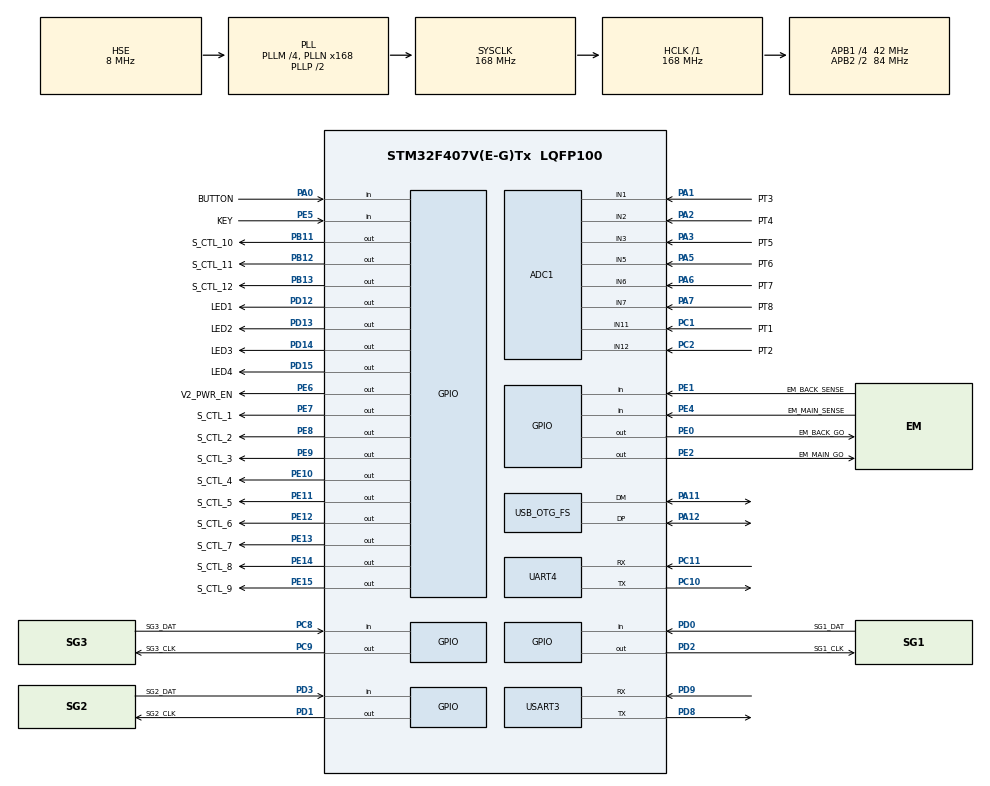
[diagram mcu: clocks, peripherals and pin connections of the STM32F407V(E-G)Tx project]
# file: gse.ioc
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ADC1.Channel-0\#ChannelRegularConversion=ADC_CHANNEL_VREFINT
ADC1.Channel-1\#ChannelRegularConversion=ADC_CHANNEL_11
ADC1.Channel-2\#ChannelRegularConversion=ADC_CHANNEL_12
ADC1.Channel-3\#ChannelRegularConversion=ADC_CHANNEL_1
ADC1.Channel-4\#ChannelRegularConversion=ADC_CHANNEL_2
ADC1.Channel-5\#ChannelRegularConversion=ADC_CHANNEL_3
ADC1.Channel-6\#ChannelRegularConversion=ADC_CHANNEL_5
ADC1.Channel-7\#ChannelRegularConversion=ADC_CHANNEL_6
ADC1.Channel-8\#ChannelRegularConversion=ADC_CHANNEL_7
ADC1.DMAContinuousRequests=ENABLE
ADC1.EOCSelection=ADC_EOC_SEQ_CONV
ADC1.NbrOfConversion=9
ADC1.NbrOfConversionFlag=1
ADC1.Rank-0\#ChannelRegularConversion=1
ADC1.Rank-1\#ChannelRegularConversion=2
ADC1.Rank-2\#ChannelRegularConversion=3
ADC1.Rank-3\#ChannelRegularConversion=4
ADC1.Rank-4\#ChannelRegularConversion=5
ADC1.Rank-5\#ChannelRegularConversion=6
ADC1.Rank-6\#ChannelRegularConversion=7
ADC1.Rank-7\#ChannelRegularConversion=8
ADC1.Rank-8\#ChannelRegularConversion=9
ADC1.SamplingTime-0\#ChannelRegularConversion=ADC_SAMPLETIME_480CYCLES
ADC1.SamplingTime-1\#ChannelRegularConversion=ADC_SAMPLETIME_480CYCLES
ADC1.SamplingTime-2\#ChannelRegularConversion=ADC_SAMPLETIME_480CYCLES
ADC1.SamplingTime-3\#ChannelRegularConversion=ADC_SAMPLETIME_480CYCLES
ADC1.SamplingTime-4\#ChannelRegularConversion=ADC_SAMPLETIME_480CYCLES
ADC1.SamplingTime-5\#ChannelRegularConversion=ADC_SAMPLETIME_480CYCLES
ADC1.SamplingTime-6\#ChannelRegularConversion=ADC_SAMPLETIME_480CYCLES
ADC1.SamplingTime-7\#ChannelRegularConversion=ADC_SAMPLETIME_480CYCLES
ADC1.SamplingTime-8\#ChannelRegularConversion=ADC_SAMPLETIME_480CYCLES
ADC1.ScanConvMode=ENABLE
ADC1.master=1
Dma.ADC1.0.Direction=DMA_PERIPH_TO_MEMORY
Dma.ADC1.0.FIFOMode=DMA_FIFOMODE_DISABLE
Dma.ADC1.0.Instance=DMA2_Stream0
Dma.ADC1.0.MemDataAlignment=DMA_MDATAALIGN_HALFWORD
Dma.ADC1.0.MemInc=DMA_MINC_ENABLE
Dma.ADC1.0.Mode=DMA_CIRCULAR
Dma.ADC1.0.PeriphDataAlignment=DMA_PDATAALIGN_HALFWORD
Dma.ADC1.0.PeriphInc=DMA_PINC_DISABLE
Dma.ADC1.0.Priority=DMA_PRIORITY_LOW
Dma.Request0=ADC1
FREERTOS.MEMORY_ALLOCATION=2
FREERTOS.Tasks01=defaultTask,0,512,StartDefaultTask,Default,NULL,Static,defaultTaskBuffer,defaultTaskControlBlock;messageHandler,0,1024,startMessageHandler,Default,NULL,Static,messageHandlerBuffer,messageHandlerControlBlock;sgRead,0,512,startSgRead,Default,NULL,Static,sgReadBuffer,sgReadControlBlock
Mcu.Family=STM32F4
Mcu.Name=STM32F407V(E-G)Tx
Mcu.Package=LQFP100
NVIC.ADC_IRQn=true\:5\:0\:false\:false\:true\:true\:true\:true
NVIC.DMA2_Stream0_IRQn=true\:5\:0\:false\:false\:true\:true\:false\:true
NVIC.OTG_FS_IRQn=true\:5\:0\:false\:false\:true\:true\:false\:true
NVIC.PriorityGroup=NVIC_PRIORITYGROUP_4
NVIC.TIM8_TRG_COM_TIM14_IRQn=true\:5\:0\:false\:false\:true\:true\:true\:true
NVIC.UART4_IRQn=true\:5\:0\:false\:false\:true\:true\:true\:true
NVIC.USART3_IRQn=true\:5\:0\:false\:false\:true\:true\:true\:true
PA0-WKUP.GPIO_Label=BUTTON
PA0-WKUP.GPIO_Mode=GPIO_MODE_INPUT
PA0-WKUP.GPIO_PuPd=GPIO_NOPULL
PA0-WKUP.Signal=GPIO_Input
PA1.GPIO_Label=PT3
PA1.Signal=ADCx_IN1
PA11.Mode=Device_Only
PA11.Signal=USB_OTG_FS_DM
PA12.Mode=Device_Only
PA12.Signal=USB_OTG_FS_DP
PA13.Mode=Trace_Asynchronous_SW
PA13.Signal=SYS_JTMS-SWDIO
PA14.Mode=Trace_Asynchronous_SW
PA14.Signal=SYS_JTCK-SWCLK
PA2.GPIO_Label=PT4
PA2.Signal=ADCx_IN2
PA3.GPIO_Label=PT5
PA3.Signal=ADCx_IN3
PA5.GPIO_Label=PT6
PA5.Signal=ADCx_IN5
PA6.GPIO_Label=PT7
PA6.Signal=ADCx_IN6
PA7.GPIO_Label=PT8
PA7.Signal=ADCx_IN7
PB11.GPIO_Label=S_CTL_10
PB11.Signal=GPIO_Output
PB12.GPIO_Label=S_CTL_11
PB12.Signal=GPIO_Output
PB13.GPIO_Label=S_CTL_12
PB13.Signal=GPIO_Output
PB3.Mode=Trace_Asynchronous_SW
PB3.Signal=SYS_JTDO-SWO
PC1.GPIO_Label=PT1
PC1.Signal=ADCx_IN11
PC10.Mode=Asynchronous
PC10.Signal=UART4_TX
PC11.Mode=Asynchronous
PC11.Signal=UART4_RX
PC2.GPIO_Label=PT2
PC2.Signal=ADCx_IN12
PC8.GPIO_Label=SG3_DAT
PC8.Signal=GPIO_Input
PC9.GPIO_Label=SG3_CLK
PC9.Signal=GPIO_Output
PD0.GPIO_Label=SG1_DAT
PD0.Signal=GPIO_Input
PD1.GPIO_Label=SG2_CLK
PD1.Signal=GPIO_Output
PD12.GPIO_Label=LED1
PD12.Signal=GPIO_Output
PD13.GPIO_Label=LED2
PD13.Signal=GPIO_Output
PD14.GPIO_Label=LED3
PD14.Signal=GPIO_Output
PD15.GPIO_Label=LED4
PD15.Signal=GPIO_Output
PD2.GPIO_Label=SG1_CLK
PD2.Signal=GPIO_Output
PD3.GPIO_Label=SG2_DAT
PD3.Signal=GPIO_Input
PD8.Mode=Asynchronous
PD8.Signal=USART3_TX
PD9.Mode=Asynchronous
PD9.Signal=USART3_RX
PE0.GPIO_Label=EM_BACK_GO
PE0.Signal=GPIO_Output
PE1.GPIO_Label=EM_BACK_SENSE
PE1.Signal=GPIO_Input
PE10.GPIO_Label=S_CTL_4
PE10.Signal=GPIO_Output
PE11.GPIO_Label=S_CTL_5
PE11.Signal=GPIO_Output
PE12.GPIO_Label=S_CTL_6
PE12.Signal=GPIO_Output
PE13.GPIO_Label=S_CTL_7
PE13.Signal=GPIO_Output
PE14.GPIO_Label=S_CTL_8
PE14.Signal=GPIO_Output
PE15.GPIO_Label=S_CTL_9
PE15.Signal=GPIO_Output
PE2.GPIO_Label=EM_MAIN_GO
PE2.Signal=GPIO_Output
PE4.GPIO_Label=EM_MAIN_SENSE
PE4.Signal=GPIO_Input
PE5.GPIO_Label=KEY
PE5.Signal=GPIO_Input
PE6.GPIO_Label=V2_PWR_EN
PE6.Signal=GPIO_Output
PE7.GPIO_Label=S_CTL_1
PE7.Signal=GPIO_Output
PE8.GPIO_Label=S_CTL_2
PE8.Signal=GPIO_Output
PE9.GPIO_Label=S_CTL_3
PE9.Signal=GPIO_Output
PH0-OSC_IN.Mode=HSE-External-Oscillator
PH0-OSC_IN.Signal=RCC_OSC_IN
PH1-OSC_OUT.Mode=HSE-External-Oscillator
PH1-OSC_OUT.Signal=RCC_OSC_OUT
ProjectManager.HeapSize=0x200
ProjectManager.StackSize=0x400
ProjectManager.TargetToolchain=TrueSTUDIO
RCC.48MHZClocksFreq_Value=48000000
RCC.AHBFreq_Value=168000000
RCC.APB1CLKDivider=RCC_HCLK_DIV4
RCC.APB1Freq_Value=42000000
RCC.APB1TimFreq_Value=84000000
RCC.APB2CLKDivider=RCC_HCLK_DIV2
RCC.APB2Freq_Value=84000000
RCC.APB2TimFreq_Value=168000000
RCC.CortexFreq_Value=168000000
RCC.HCLKFreq_Value=168000000
RCC.HSE_VALUE=8000000
RCC.HSI_VALUE=16000000
RCC.LSE_VALUE=32768
RCC.PLLM=4
RCC.PLLN=168
RCC.PLLQ=7
RCC.SYSCLKFreq_VALUE=168000000
RCC.SYSCLKSource=RCC_SYSCLKSOURCE_PLLCLK
RCC.VCOOutputFreq_Value=336000000
SH.ADCx_IN1.0=ADC1_IN1,IN1
SH.ADCx_IN11.0=ADC1_IN11,IN11
SH.ADCx_IN12.0=ADC1_IN12,IN12
SH.ADCx_IN2.0=ADC1_IN2,IN2
SH.ADCx_IN3.0=ADC1_IN3,IN3
SH.ADCx_IN5.0=ADC1_IN5,IN5
SH.ADCx_IN6.0=ADC1_IN6,IN6
SH.ADCx_IN7.0=ADC1_IN7,IN7
TIM14.Period=1000
TIM14.Prescaler=83
UART4.VirtualMode=Asynchronous
USART3.VirtualMode=VM_ASYNC
USB_DEVICE.CLASS_NAME_FS=CDC
USB_DEVICE.VirtualMode-CDC_FS=Cdc
USB_DEVICE.VirtualModeFS=Cdc_FS
USB_OTG_FS.VirtualMode=Device_Only
VP_ADC1_Vref_Input.Mode=IN-Vrefint
VP_FREERTOS_VS_CMSIS_V1.Mode=CMSIS_V1
VP_TIM14_VS_ClockSourceINT.Mode=Enable_Timer
VP_USB_DEVICE_VS_USB_DEVICE_CDC_FS.Mode=CDC_FS
board=custom

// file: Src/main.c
/* USER CODE BEGIN Header */
/**
  ******************************************************************************
  * @file           : main.c
  * @brief          : Main program body
  ******************************************************************************
  * @attention
  *
  * <h2><center>&copy; Copyright (c) 2021 STMicroelectronics.
  * All rights reserved.</center></h2>
  *
  * This software component is licensed by ST under Ultimate Liberty license
  * SLA0044, the "License"; You may not use this file except in compliance with
  * the License. You may obtain a copy of the License at:
  *                             www.st.com/SLA0044
  *
  ******************************************************************************
  */
/* USER CODE END Header */

#include "main.h"
#include "cmsis_os.h"
#include "usb_device.h"

/* USER CODE BEGIN Includes */

#include <stdio.h>
#include <stdarg.h>
#include <string.h>

#include "cobs.h"
#include "message.h"

/* USER CODE END Includes */

/* USER CODE BEGIN PD */

#define MSG_RX_UART3 0x00
#define MSG_TX_UART3 MSG_TX_MASK(MSG_RX_UART3)

#define MSG_RX_UART4 0x01
#define MSG_TX_UART4 MSG_TX_MASK(MSG_RX_UART4)

#define MSG_RX_USB 0x02
#define MSG_TX_USB MSG_TX_MASK(MSG_RX_USB)

/* USER CODE END PD */

ADC_HandleTypeDef hadc1;
DMA_HandleTypeDef hdma_adc1;

TIM_HandleTypeDef htim14;

UART_HandleTypeDef huart4;
UART_HandleTypeDef huart3;

osThreadId defaultTaskHandle;
uint32_t defaultTaskBuffer[ 512 ];
osStaticThreadDef_t defaultTaskControlBlock;
osThreadId messageHandlerHandle;
uint32_t messageHandlerBuffer[ 1024 ];
osStaticThreadDef_t messageHandlerControlBlock;
osThreadId sgReadHandle;
uint32_t sgReadBuffer[ 512 ];
osStaticThreadDef_t sgReadControlBlock;
/* USER CODE BEGIN PV */

uint8_t usart3_rx_hw_buffer[1];
uint8_t usart3_rx_buffer[128];
StaticQueue_t usart3_rx_queue;
QueueHandle_t usart3_rx_queue_handle;
uint8_t usart3_active;
uint8_t usart3_tx_hw_buffer[1];
uint8_t usart3_tx_buffer[128];
StaticQueue_t usart3_tx_queue;
QueueHandle_t usart3_tx_queue_handle;

uint8_t usart4_rx_hw_buffer[1];
uint8_t usart4_rx_buffer[128];
StaticQueue_t usart4_rx_queue;
QueueHandle_t usart4_rx_queue_handle;
uint8_t usart4_active;
uint8_t usart4_tx_hw_buffer[1];
uint8_t usart4_tx_buffer[128];
StaticQueue_t usart4_tx_queue;
QueueHandle_t usart4_tx_queue_handle;

uint8_t usb_cdc_rx_buffer[128];
StaticQueue_t usb_cdc_rx_queue;
QueueHandle_t usb_cdc_rx_queue_handle;

uint8_t usb_cdc_tx_buffer[128];
int usb_cdc_tx_buffer_ptr = 0;

uint8_t usart3_pkt_buffer[128];
size_t usart3_pkt_buffer_ptr = 0;

uint8_t usart4_pkt_buffer[128];
size_t usart4_pkt_buffer_ptr = 0;

uint8_t usb_cdc_pkt_buffer[128];
size_t usb_cdc_pkt_buffer_ptr = 0;

// message queues
#define RX_MSG_QUEUE_LEN 8
uint8_t rx_msg_buffer[RX_MSG_QUEUE_LEN*(sizeof(struct message))];
StaticQueue_t rx_msg_queue;
QueueHandle_t rx_msg_queue_handle;

#define TX_MSG_QUEUE_LEN 8
uint8_t tx_msg_buffer[TX_MSG_QUEUE_LEN*(sizeof(struct message))];
StaticQueue_t tx_msg_queue;
QueueHandle_t tx_msg_queue_handle;

uint16_t adc1_dma_buffer[9];

uint16_t solenoid_state = 0x8000;

uint8_t arm_state = 0;
uint8_t fire_cmd = 0;

uint8_t dev_id = 0x40;

uint8_t tx_seq = 0x00;

/* USER CODE END PV */

void SystemClock_Config(void);
static void MX_GPIO_Init(void);
static void MX_DMA_Init(void);
static void MX_UART4_Init(void);
static void MX_ADC1_Init(void);
static void MX_USART3_UART_Init(void);
static void MX_TIM14_Init(void);
void StartDefaultTask(void const * argument);
void startMessageHandler(void const * argument);
void startSgRead(void const * argument);

/* USER CODE BEGIN 0 */

// printf() via SWO
void swo_printf(const char *fmt, ...)
{
  char buf[128];
  va_list argp;
  va_start(argp, fmt);
  if (0 < vsnprintf(buf, sizeof(buf), fmt, argp))
  {
    for (char *ptr = buf; *ptr; ptr++)
    {
      ITM_SendChar(*ptr);
    }
  }
  va_end(argp);
}

// Event handlers

//void tick_handler(void)
//{
//  // HAL_GetTick();
//}

//void HAL_I2C_MasterTxCpltCallback(I2C_HandleTypeDef *hi2c);
//void HAL_I2C_MasterRxCpltCallback(I2C_HandleTypeDef *hi2c);
//void HAL_I2C_SlaveTxCpltCallback(I2C_HandleTypeDef *hi2c);
//void HAL_I2C_SlaveRxCpltCallback(I2C_HandleTypeDef *hi2c);
//void HAL_I2C_AddrCallback(I2C_HandleTypeDef *hi2c, uint8_t TransferDirection, uint16_t AddrMatchCode);
//void HAL_I2C_ListenCpltCallback(I2C_HandleTypeDef *hi2c);
//void HAL_I2C_MemTxCpltCallback(I2C_HandleTypeDef *hi2c);
//void HAL_I2C_MemRxCpltCallback(I2C_HandleTypeDef *hi2c);
//void HAL_I2C_ErrorCallback(I2C_HandleTypeDef *hi2c);
//void HAL_I2C_AbortCpltCallback(I2C_HandleTypeDef *hi2c);

//void HAL_UART_TxCpltCallback(UART_HandleTypeDef *huart);
//void HAL_UART_TxHalfCpltCallback(UART_HandleTypeDef *huart);
//void HAL_UART_RxCpltCallback(UART_HandleTypeDef *huart);
//void HAL_UART_RxHalfCpltCallback(UART_HandleTypeDef *huart);
//void HAL_UART_ErrorCallback(UART_HandleTypeDef *huart);
//void HAL_UART_AbortCpltCallback (UART_HandleTypeDef *huart);
//void HAL_UART_AbortTransmitCpltCallback (UART_HandleTypeDef *huart);
//void HAL_UART_AbortReceiveCpltCallback (UART_HandleTypeDef *huart);

void HAL_UART_TxCpltCallback(UART_HandleTypeDef *huart)
{
  if (huart == &huart3)
  {
    // TX complete for UART3
    if (uxQueueMessagesWaitingFromISR(usart3_tx_queue_handle))
    {
      usart3_active = 1;
      xQueueReceiveFromISR(usart3_tx_queue_handle, usart3_tx_hw_buffer, NULL);
      HAL_UART_Transmit_IT(&huart3, usart3_tx_hw_buffer, 1);
    }
    else
    {
      usart3_active = 0;
    }
  }
  else if (huart == &huart4)
//  if (huart == &huart4)
  {
    // TX complete for UART4
    if (uxQueueMessagesWaitingFromISR(usart4_tx_queue_handle))
    {
      usart4_active = 1;
      xQueueReceiveFromISR(usart4_tx_queue_handle, usart4_tx_hw_buffer, NULL);
      HAL_UART_Transmit_IT(&huart4, usart4_tx_hw_buffer, 1);
    }
    else
    {
      usart4_active = 0;
    }
  }
}

void HAL_UART_RxCpltCallback(UART_HandleTypeDef *huart)
{
  if (huart == &huart3)
  {
    // RX complete for USART3
    xQueueSendFromISR(usart3_rx_queue_handle, usart3_rx_hw_buffer, NULL);
    HAL_UART_Receive_IT(&huart3, usart3_rx_hw_buffer, 1);
  }
  else if (huart == &huart4)
  //if (huart == &huart4)
  {
    // RX complete for UART4
    xQueueSendFromISR(usart4_rx_queue_handle, usart4_rx_hw_buffer, NULL);
    HAL_UART_Receive_IT(&huart4, usart4_rx_hw_buffer, 1);
  }
}

//void HAL_ADC_ConvCpltCallback(ADC_HandleTypeDef* hadc);
//void HAL_ADC_ConvHalfCpltCallback(ADC_HandleTypeDef* hadc);
//void HAL_ADC_LevelOutOfWindowCallback(ADC_HandleTypeDef* hadc);
//void HAL_ADC_ErrorCallback(ADC_HandleTypeDef *hadc);

uint32_t adc_ref_acc;
uint32_t adc1_acc[8];

void HAL_ADC_ConvCpltCallback(ADC_HandleTypeDef* hadc)
{
  if (hadc == &hadc1)
  {
    // exponential moving average

    // ref channel init
    if (adc_ref_acc == 0)
      adc_ref_acc = adc1_dma_buffer[0] << 16;

    adc_ref_acc = adc_ref_acc * 0.999 + (adc1_dma_buffer[0] << 16) * 0.001;

    for (int i = 0; i < 8; i++)
    {
      adc1_acc[i] = adc1_acc[i] * 0.95 + (adc1_dma_buffer[i+1] << 16) * 0.05;
    }
  }
}

//void HAL_TIM_PeriodElapsedCallback(TIM_HandleTypeDef *htim);
//void HAL_TIM_PeriodElapsedHalfCpltCallback(TIM_HandleTypeDef *htim);
//void HAL_TIM_OC_DelayElapsedCallback(TIM_HandleTypeDef *htim);
//void HAL_TIM_IC_CaptureCallback(TIM_HandleTypeDef *htim);
//void HAL_TIM_IC_CaptureHalfCpltCallback(TIM_HandleTypeDef *htim);
//void HAL_TIM_PWM_PulseFinishedCallback(TIM_HandleTypeDef *htim);
//void HAL_TIM_PWM_PulseFinishedHalfCpltCallback(TIM_HandleTypeDef *htim);
//void HAL_TIM_TriggerCallback(TIM_HandleTypeDef *htim);
//void HAL_TIM_TriggerHalfCpltCallback(TIM_HandleTypeDef *htim);
//void HAL_TIM_ErrorCallback(TIM_HandleTypeDef *htim);

void HAL_TIM_PeriodElapsedCallback(TIM_HandleTypeDef *htim)
{
  if (htim == &htim14)
  {
    // 1 ms timer tick

    // sample ADC
    HAL_ADC_Start_DMA(&hadc1, (uint32_t *)adc1_dma_buffer, 9);
  }
}

void usb_cdc_rx_callback(uint8_t *buf, uint32_t len)
{
  for (int i = 0; i < len; i++)
  {
    xQueueSendFromISR(usb_cdc_rx_queue_handle, &buf[i], NULL);
  }
}

/* USER CODE END 0 */

int main(void)
{

  /* MCU Configuration--------------------------------------------------------*/

  /* Reset of all peripherals, Initializes the Flash interface and the Systick. */
  HAL_Init();

  /* Configure the system clock */
  SystemClock_Config();

  /* USER CODE BEGIN SysInit */

  HAL_Delay(100);

  /* USER CODE END SysInit */

  /* Initialize all configured peripherals */
  MX_GPIO_Init();
  MX_DMA_Init();
  MX_UART4_Init();
  MX_ADC1_Init();
  MX_USART3_UART_Init();
  MX_TIM14_Init();
  /* USER CODE BEGIN 2 */

  usart3_rx_queue_handle = xQueueCreateStatic(sizeof(usart3_rx_buffer), 1, usart3_rx_buffer, &usart3_rx_queue);
  usart3_tx_queue_handle = xQueueCreateStatic(sizeof(usart3_tx_buffer), 1, usart3_tx_buffer, &usart3_tx_queue);

  HAL_UART_Receive_IT(&huart3, usart3_rx_hw_buffer, 1);

  usart4_rx_queue_handle = xQueueCreateStatic(sizeof(usart4_rx_buffer), 1, usart4_rx_buffer, &usart4_rx_queue);
  usart4_tx_queue_handle = xQueueCreateStatic(sizeof(usart4_tx_buffer), 1, usart4_tx_buffer, &usart4_tx_queue);

  HAL_UART_Receive_IT(&huart4, usart4_rx_hw_buffer, 1);

  usb_cdc_rx_queue_handle = xQueueCreateStatic(sizeof(usb_cdc_rx_buffer), 1, usb_cdc_rx_buffer, &usb_cdc_rx_queue);

  rx_msg_queue_handle = xQueueCreateStatic(RX_MSG_QUEUE_LEN, sizeof(struct message), rx_msg_buffer, &rx_msg_queue);
  tx_msg_queue_handle = xQueueCreateStatic(TX_MSG_QUEUE_LEN, sizeof(struct message), tx_msg_buffer, &tx_msg_queue);

  HAL_TIM_Base_Start_IT(&htim14);

  /* USER CODE END 2 */

  /* Create the thread(s) */
  /* definition and creation of defaultTask */
  osThreadStaticDef(defaultTask, StartDefaultTask, osPriorityNormal, 0, 512, defaultTaskBuffer, &defaultTaskControlBlock);
  defaultTaskHandle = osThreadCreate(osThread(defaultTask), NULL);

  /* definition and creation of messageHandler */
  osThreadStaticDef(messageHandler, startMessageHandler, osPriorityNormal, 0, 1024, messageHandlerBuffer, &messageHandlerControlBlock);
  messageHandlerHandle = osThreadCreate(osThread(messageHandler), NULL);

  /* definition and creation of sgRead */
  osThreadStaticDef(sgRead, startSgRead, osPriorityNormal, 0, 512, sgReadBuffer, &sgReadControlBlock);
  sgReadHandle = osThreadCreate(osThread(sgRead), NULL);

  /* Start scheduler */
  osKernelStart();

  /* We should never get here as control is now taken by the scheduler */
  /* Infinite loop */
  while (1)
  {

  }
}

void SystemClock_Config(void)
{
  RCC_OscInitTypeDef RCC_OscInitStruct = {0};
  RCC_ClkInitTypeDef RCC_ClkInitStruct = {0};

  /** Configure the main internal regulator output voltage
  */
  __HAL_RCC_PWR_CLK_ENABLE();
  __HAL_PWR_VOLTAGESCALING_CONFIG(PWR_REGULATOR_VOLTAGE_SCALE1);
  /** Initializes the RCC Oscillators according to the specified parameters
  * in the RCC_OscInitTypeDef structure.
  */
  RCC_OscInitStruct.OscillatorType = RCC_OSCILLATORTYPE_HSE;
  RCC_OscInitStruct.HSEState = RCC_HSE_ON;
  RCC_OscInitStruct.PLL.PLLState = RCC_PLL_ON;
  RCC_OscInitStruct.PLL.PLLSource = RCC_PLLSOURCE_HSE;
  RCC_OscInitStruct.PLL.PLLM = 4;
  RCC_OscInitStruct.PLL.PLLN = 168;
  RCC_OscInitStruct.PLL.PLLP = RCC_PLLP_DIV2;
  RCC_OscInitStruct.PLL.PLLQ = 7;
  if (HAL_RCC_OscConfig(&RCC_OscInitStruct) != HAL_OK)
  {
    Error_Handler();
  }
  /** Initializes the CPU, AHB and APB buses clocks
  */
  RCC_ClkInitStruct.ClockType = RCC_CLOCKTYPE_HCLK|RCC_CLOCKTYPE_SYSCLK
                              |RCC_CLOCKTYPE_PCLK1|RCC_CLOCKTYPE_PCLK2;
  RCC_ClkInitStruct.SYSCLKSource = RCC_SYSCLKSOURCE_PLLCLK;
  RCC_ClkInitStruct.AHBCLKDivider = RCC_SYSCLK_DIV1;
  RCC_ClkInitStruct.APB1CLKDivider = RCC_HCLK_DIV4;
  RCC_ClkInitStruct.APB2CLKDivider = RCC_HCLK_DIV2;

  if (HAL_RCC_ClockConfig(&RCC_ClkInitStruct, FLASH_LATENCY_5) != HAL_OK)
  {
    Error_Handler();
  }
}

static void MX_ADC1_Init(void)
{

  ADC_ChannelConfTypeDef sConfig = {0};

  /** Configure the global features of the ADC (Clock, Resolution, Data Alignment and number of conversion)
  */
  hadc1.Instance = ADC1;
  hadc1.Init.ClockPrescaler = ADC_CLOCK_SYNC_PCLK_DIV4;
  hadc1.Init.Resolution = ADC_RESOLUTION_12B;
  hadc1.Init.ScanConvMode = ENABLE;
  hadc1.Init.ContinuousConvMode = DISABLE;
  hadc1.Init.DiscontinuousConvMode = DISABLE;
  hadc1.Init.ExternalTrigConvEdge = ADC_EXTERNALTRIGCONVEDGE_NONE;
  hadc1.Init.ExternalTrigConv = ADC_SOFTWARE_START;
  hadc1.Init.DataAlign = ADC_DATAALIGN_RIGHT;
  hadc1.Init.NbrOfConversion = 9;
  hadc1.Init.DMAContinuousRequests = ENABLE;
  hadc1.Init.EOCSelection = ADC_EOC_SEQ_CONV;
  if (HAL_ADC_Init(&hadc1) != HAL_OK)
  {
    Error_Handler();
  }
  /** Configure for the selected ADC regular channel its corresponding rank in the sequencer and its sample time.
  */
  sConfig.Channel = ADC_CHANNEL_VREFINT;
  sConfig.Rank = 1;
  sConfig.SamplingTime = ADC_SAMPLETIME_480CYCLES;
  if (HAL_ADC_ConfigChannel(&hadc1, &sConfig) != HAL_OK)
  {
    Error_Handler();
  }
  /** Configure for the selected ADC regular channel its corresponding rank in the sequencer and its sample time.
  */
  sConfig.Channel = ADC_CHANNEL_11;
  sConfig.Rank = 2;
  if (HAL_ADC_ConfigChannel(&hadc1, &sConfig) != HAL_OK)
  {
    Error_Handler();
  }
  /** Configure for the selected ADC regular channel its corresponding rank in the sequencer and its sample time.
  */
  sConfig.Channel = ADC_CHANNEL_12;
  sConfig.Rank = 3;
  if (HAL_ADC_ConfigChannel(&hadc1, &sConfig) != HAL_OK)
  {
    Error_Handler();
  }
  /** Configure for the selected ADC regular channel its corresponding rank in the sequencer and its sample time.
  */
  sConfig.Channel = ADC_CHANNEL_1;
  sConfig.Rank = 4;
  if (HAL_ADC_ConfigChannel(&hadc1, &sConfig) != HAL_OK)
  {
    Error_Handler();
  }
  /** Configure for the selected ADC regular channel its corresponding rank in the sequencer and its sample time.
  */
  sConfig.Channel = ADC_CHANNEL_2;
  sConfig.Rank = 5;
  if (HAL_ADC_ConfigChannel(&hadc1, &sConfig) != HAL_OK)
  {
    Error_Handler();
  }
  /** Configure for the selected ADC regular channel its corresponding rank in the sequencer and its sample time.
  */
  sConfig.Channel = ADC_CHANNEL_3;
  sConfig.Rank = 6;
  if (HAL_ADC_ConfigChannel(&hadc1, &sConfig) != HAL_OK)
  {
    Error_Handler();
  }
  /** Configure for the selected ADC regular channel its corresponding rank in the sequencer and its sample time.
  */
  sConfig.Channel = ADC_CHANNEL_5;
  sConfig.Rank = 7;
  if (HAL_ADC_ConfigChannel(&hadc1, &sConfig) != HAL_OK)
  {
    Error_Handler();
  }
  /** Configure for the selected ADC regular channel its corresponding rank in the sequencer and its sample time.
  */
  sConfig.Channel = ADC_CHANNEL_6;
  sConfig.Rank = 8;
  if (HAL_ADC_ConfigChannel(&hadc1, &sConfig) != HAL_OK)
  {
    Error_Handler();
  }
  /** Configure for the selected ADC regular channel its corresponding rank in the sequencer and its sample time.
  */
  sConfig.Channel = ADC_CHANNEL_7;
  sConfig.Rank = 9;
  if (HAL_ADC_ConfigChannel(&hadc1, &sConfig) != HAL_OK)
  {
    Error_Handler();
  }

}

static void MX_TIM14_Init(void)
{

  htim14.Instance = TIM14;
  htim14.Init.Prescaler = 83;
  htim14.Init.CounterMode = TIM_COUNTERMODE_UP;
  htim14.Init.Period = 1000;
  htim14.Init.ClockDivision = TIM_CLOCKDIVISION_DIV1;
  htim14.Init.AutoReloadPreload = TIM_AUTORELOAD_PRELOAD_DISABLE;
  if (HAL_TIM_Base_Init(&htim14) != HAL_OK)
  {
    Error_Handler();
  }

}

static void MX_UART4_Init(void)
{

  huart4.Instance = UART4;
  huart4.Init.BaudRate = 115200;
  huart4.Init.WordLength = UART_WORDLENGTH_8B;
  huart4.Init.StopBits = UART_STOPBITS_1;
  huart4.Init.Parity = UART_PARITY_NONE;
  huart4.Init.Mode = UART_MODE_TX_RX;
  huart4.Init.HwFlowCtl = UART_HWCONTROL_NONE;
  huart4.Init.OverSampling = UART_OVERSAMPLING_16;
  if (HAL_UART_Init(&huart4) != HAL_OK)
  {
    Error_Handler();
  }

}

static void MX_USART3_UART_Init(void)
{

  huart3.Instance = USART3;
  huart3.Init.BaudRate = 115200;
  huart3.Init.WordLength = UART_WORDLENGTH_8B;
  huart3.Init.StopBits = UART_STOPBITS_1;
  huart3.Init.Parity = UART_PARITY_NONE;
  huart3.Init.Mode = UART_MODE_TX_RX;
  huart3.Init.HwFlowCtl = UART_HWCONTROL_NONE;
  huart3.Init.OverSampling = UART_OVERSAMPLING_16;
  if (HAL_UART_Init(&huart3) != HAL_OK)
  {
    Error_Handler();
  }

}

static void MX_DMA_Init(void)
{

  /* DMA controller clock enable */
  __HAL_RCC_DMA2_CLK_ENABLE();

  /* DMA interrupt init */
  /* DMA2_Stream0_IRQn interrupt configuration */
  HAL_NVIC_SetPriority(DMA2_Stream0_IRQn, 5, 0);
  HAL_NVIC_EnableIRQ(DMA2_Stream0_IRQn);

}

static void MX_GPIO_Init(void)
{
  GPIO_InitTypeDef GPIO_InitStruct = {0};

  /* GPIO Ports Clock Enable */
  __HAL_RCC_GPIOE_CLK_ENABLE();
  __HAL_RCC_GPIOH_CLK_ENABLE();
  __HAL_RCC_GPIOC_CLK_ENABLE();
  __HAL_RCC_GPIOA_CLK_ENABLE();
  __HAL_RCC_GPIOB_CLK_ENABLE();
  __HAL_RCC_GPIOD_CLK_ENABLE();

  /*Configure GPIO pin Output Level */
  HAL_GPIO_WritePin(GPIOE, EM_MAIN_GO_Pin|V2_PWR_EN_Pin|S_CTL_1_Pin|S_CTL_2_Pin
                          |S_CTL_3_Pin|S_CTL_4_Pin|S_CTL_5_Pin|S_CTL_6_Pin
                          |S_CTL_7_Pin|S_CTL_8_Pin|S_CTL_9_Pin|EM_BACK_GO_Pin, GPIO_PIN_RESET);

  /*Configure GPIO pin Output Level */
  HAL_GPIO_WritePin(GPIOB, S_CTL_10_Pin|S_CTL_11_Pin|S_CTL_12_Pin, GPIO_PIN_RESET);

  /*Configure GPIO pin Output Level */
  HAL_GPIO_WritePin(GPIOD, LED1_Pin|LED2_Pin|LED3_Pin|LED4_Pin
                          |SG2_CLK_Pin|SG1_CLK_Pin, GPIO_PIN_RESET);

  /*Configure GPIO pin Output Level */
  HAL_GPIO_WritePin(SG3_CLK_GPIO_Port, SG3_CLK_Pin, GPIO_PIN_RESET);

  /*Configure GPIO pins : EM_MAIN_GO_Pin V2_PWR_EN_Pin S_CTL_1_Pin S_CTL_2_Pin
                           S_CTL_3_Pin S_CTL_4_Pin S_CTL_5_Pin S_CTL_6_Pin
                           S_CTL_7_Pin S_CTL_8_Pin S_CTL_9_Pin EM_BACK_GO_Pin */
  GPIO_InitStruct.Pin = EM_MAIN_GO_Pin|V2_PWR_EN_Pin|S_CTL_1_Pin|S_CTL_2_Pin
                          |S_CTL_3_Pin|S_CTL_4_Pin|S_CTL_5_Pin|S_CTL_6_Pin
                          |S_CTL_7_Pin|S_CTL_8_Pin|S_CTL_9_Pin|EM_BACK_GO_Pin;
  GPIO_InitStruct.Mode = GPIO_MODE_OUTPUT_PP;
  GPIO_InitStruct.Pull = GPIO_NOPULL;
  GPIO_InitStruct.Speed = GPIO_SPEED_FREQ_LOW;
  HAL_GPIO_Init(GPIOE, &GPIO_InitStruct);

  /*Configure GPIO pins : EM_MAIN_SENSE_Pin KEY_Pin EM_BACK_SENSE_Pin */
  GPIO_InitStruct.Pin = EM_MAIN_SENSE_Pin|KEY_Pin|EM_BACK_SENSE_Pin;
  GPIO_InitStruct.Mode = GPIO_MODE_INPUT;
  GPIO_InitStruct.Pull = GPIO_NOPULL;
  HAL_GPIO_Init(GPIOE, &GPIO_InitStruct);

  /*Configure GPIO pin : BUTTON_Pin */
  GPIO_InitStruct.Pin = BUTTON_Pin;
  GPIO_InitStruct.Mode = GPIO_MODE_INPUT;
  GPIO_InitStruct.Pull = GPIO_NOPULL;
  HAL_GPIO_Init(BUTTON_GPIO_Port, &GPIO_InitStruct);

  /*Configure GPIO pins : S_CTL_10_Pin S_CTL_11_Pin S_CTL_12_Pin */
  GPIO_InitStruct.Pin = S_CTL_10_Pin|S_CTL_11_Pin|S_CTL_12_Pin;
  GPIO_InitStruct.Mode = GPIO_MODE_OUTPUT_PP;
  GPIO_InitStruct.Pull = GPIO_NOPULL;
  GPIO_InitStruct.Speed = GPIO_SPEED_FREQ_LOW;
  HAL_GPIO_Init(GPIOB, &GPIO_InitStruct);

  /*Configure GPIO pins : LED1_Pin LED2_Pin LED3_Pin LED4_Pin
                           SG2_CLK_Pin SG1_CLK_Pin */
  GPIO_InitStruct.Pin = LED1_Pin|LED2_Pin|LED3_Pin|LED4_Pin
                          |SG2_CLK_Pin|SG1_CLK_Pin;
  GPIO_InitStruct.Mode = GPIO_MODE_OUTPUT_PP;
  GPIO_InitStruct.Pull = GPIO_NOPULL;
  GPIO_InitStruct.Speed = GPIO_SPEED_FREQ_LOW;
  HAL_GPIO_Init(GPIOD, &GPIO_InitStruct);

  /*Configure GPIO pin : SG3_DAT_Pin */
  GPIO_InitStruct.Pin = SG3_DAT_Pin;
  GPIO_InitStruct.Mode = GPIO_MODE_INPUT;
  GPIO_InitStruct.Pull = GPIO_NOPULL;
  HAL_GPIO_Init(SG3_DAT_GPIO_Port, &GPIO_InitStruct);

  /*Configure GPIO pin : SG3_CLK_Pin */
  GPIO_InitStruct.Pin = SG3_CLK_Pin;
  GPIO_InitStruct.Mode = GPIO_MODE_OUTPUT_PP;
  GPIO_InitStruct.Pull = GPIO_NOPULL;
  GPIO_InitStruct.Speed = GPIO_SPEED_FREQ_LOW;
  HAL_GPIO_Init(SG3_CLK_GPIO_Port, &GPIO_InitStruct);

  /*Configure GPIO pins : SG1_DAT_Pin SG2_DAT_Pin */
  GPIO_InitStruct.Pin = SG1_DAT_Pin|SG2_DAT_Pin;
  GPIO_InitStruct.Mode = GPIO_MODE_INPUT;
  GPIO_InitStruct.Pull = GPIO_NOPULL;
  HAL_GPIO_Init(GPIOD, &GPIO_InitStruct);

}

void StartDefaultTask(void const * argument)
{
  /* init code for USB_DEVICE */
  MX_USB_DEVICE_Init();
  /* USER CODE BEGIN 5 */
  struct message msg;

  uint32_t next_update = 0;
  uint8_t update = 0;

  uint32_t ref;
  uint32_t vals[8];

  uint16_t state;
  int fire_release_time = 0;

  while (1)
  {
    update = 0;

    msg.dest    = MSG_DEST_BCAST;
    msg.src     = dev_id;
    msg.flags   = 0x00;
    msg.rx_int  = MSG_RX_NONE;
    //msg.tx_mask = 0;
    msg.tx_mask = MSG_TX_UART3 | MSG_TX_USB;

    if (next_update <= osKernelSysTick())
    {
      update = 1;
      next_update += 100;
      //msg.tx_mask |= MSG_TX_UART3;
    }

    if (update)
    {
      // Read PT with ADC
      ref = adc_ref_acc;
      for (int i = 0; i < 8; i++)
      {
        // rescale to 10,000 counts per volt
        // assuming ref is 1.21 volts
        vals[i] = (((uint64_t)adc1_acc[i])*12100)/ref;
      }

      msg.ptype   = MSG_TYPE_ANALOG_VALUE;
      msg.len     = 0;
      msg.data[msg.len++] = 0; // bank
      msg.data[msg.len++] = 0; // type
      for (int i = 0; i < 8 ; i++)
      {
        msg.data[msg.len++] = vals[i] & 0xff;
        msg.data[msg.len++] = (vals[i] >> 8) & 0xff;
      }
      xQueueSend(tx_msg_queue_handle, &msg, 0);

      // Send solenoid states
      msg.ptype   = MSG_TYPE_DIO_STATE;
      msg.len     = 0;
      msg.data[msg.len++] = 0; // bank
      msg.data[msg.len++] = solenoid_state & 0xff;
      msg.data[msg.len++] = solenoid_state >> 8;
      xQueueSend(tx_msg_queue_handle, &msg, 0);

      // Send e-match states
      state = 0;

      if (arm_state) state |= 1 << 8;
      if (fire_cmd) state |= 1 << 9;
      if (HAL_GPIO_ReadPin(EM_MAIN_SENSE_GPIO_Port, EM_MAIN_SENSE_Pin)) state |= 1 << 0;
      if (HAL_GPIO_ReadPin(EM_BACK_SENSE_GPIO_Port, EM_BACK_SENSE_Pin)) state |= 1 << 1;
      if (HAL_GPIO_ReadPin(EM_MAIN_GO_GPIO_Port, EM_MAIN_GO_Pin)) state |= 1 << 2;
      if (HAL_GPIO_ReadPin(EM_BACK_GO_GPIO_Port, EM_BACK_GO_Pin)) state |= 1 << 3;
      if (HAL_GPIO_ReadPin(KEY_GPIO_Port, KEY_Pin)) state |= 1 << 4;

      // swo_printf("state: 0x%04x\n", state);

      msg.ptype   = MSG_TYPE_DIO_STATE;
      msg.len     = 0;
      msg.data[msg.len++] = 1; // bank
      msg.data[msg.len++] = state & 0xff;
      msg.data[msg.len++] = state >> 8;
      xQueueSend(tx_msg_queue_handle, &msg, 0);
    }

    // Update solenoid outputs
    HAL_GPIO_WritePin(S_CTL_1_GPIO_Port, S_CTL_1_Pin, solenoid_state & (1 << 0) ? GPIO_PIN_SET : GPIO_PIN_RESET);
    HAL_GPIO_WritePin(S_CTL_2_GPIO_Port, S_CTL_2_Pin, solenoid_state & (1 << 1) ? GPIO_PIN_SET : GPIO_PIN_RESET);
    HAL_GPIO_WritePin(S_CTL_3_GPIO_Port, S_CTL_3_Pin, solenoid_state & (1 << 2) ? GPIO_PIN_SET : GPIO_PIN_RESET);
    HAL_GPIO_WritePin(S_CTL_4_GPIO_Port, S_CTL_4_Pin, solenoid_state & (1 << 3) ? GPIO_PIN_SET : GPIO_PIN_RESET);
    HAL_GPIO_WritePin(S_CTL_5_GPIO_Port, S_CTL_5_Pin, solenoid_state & (1 << 4) ? GPIO_PIN_SET : GPIO_PIN_RESET);
    HAL_GPIO_WritePin(S_CTL_6_GPIO_Port, S_CTL_6_Pin, solenoid_state & (1 << 5) ? GPIO_PIN_SET : GPIO_PIN_RESET);
    HAL_GPIO_WritePin(S_CTL_7_GPIO_Port, S_CTL_7_Pin, solenoid_state & (1 << 6) ? GPIO_PIN_SET : GPIO_PIN_RESET);
    HAL_GPIO_WritePin(S_CTL_8_GPIO_Port, S_CTL_8_Pin, solenoid_state & (1 << 7) ? GPIO_PIN_SET : GPIO_PIN_RESET);
    HAL_GPIO_WritePin(S_CTL_9_GPIO_Port, S_CTL_9_Pin, solenoid_state & (1 << 8) ? GPIO_PIN_SET : GPIO_PIN_RESET);
    HAL_GPIO_WritePin(S_CTL_10_GPIO_Port, S_CTL_10_Pin, solenoid_state & (1 << 9) ? GPIO_PIN_SET : GPIO_PIN_RESET);
    HAL_GPIO_WritePin(S_CTL_11_GPIO_Port, S_CTL_11_Pin, solenoid_state & (1 << 10) ? GPIO_PIN_SET : GPIO_PIN_RESET);
    HAL_GPIO_WritePin(S_CTL_12_GPIO_Port, S_CTL_12_Pin, solenoid_state & (1 << 11) ? GPIO_PIN_SET : GPIO_PIN_RESET);

    HAL_GPIO_WritePin(V2_PWR_EN_GPIO_Port, V2_PWR_EN_Pin, solenoid_state & (1 << 15) ? GPIO_PIN_SET : GPIO_PIN_RESET);

    // e-match logic
    if (fire_cmd)
    {
      fire_cmd = 0;

      if (arm_state && HAL_GPIO_ReadPin(KEY_GPIO_Port, KEY_Pin))
      {
        HAL_GPIO_WritePin(EM_MAIN_GO_GPIO_Port, EM_MAIN_GO_Pin, GPIO_PIN_SET);
        HAL_GPIO_WritePin(EM_BACK_GO_GPIO_Port, EM_BACK_GO_Pin, GPIO_PIN_SET);

        fire_release_time = osKernelSysTick() + 3000;
      }
    }

    if (!arm_state || !HAL_GPIO_ReadPin(KEY_GPIO_Port, KEY_Pin) || fire_release_time <= osKernelSysTick())
    {
      HAL_GPIO_WritePin(EM_MAIN_GO_GPIO_Port, EM_MAIN_GO_Pin, GPIO_PIN_RESET);
      HAL_GPIO_WritePin(EM_BACK_GO_GPIO_Port, EM_BACK_GO_Pin, GPIO_PIN_RESET);
    }

    osDelay(10);
  }
  /* USER CODE END 5 */
}

void startMessageHandler(void const * argument)
{
  /* USER CODE BEGIN startMessageHandler */
  struct message msg;
  uint8_t pkt_buffer[128];
  uint8_t pkt_buffer_2[128];
  uint8_t ch;
  size_t len;

  while(1)
  {
    // USART 3 (GSE control)
    while (uxQueueMessagesWaiting(usart3_rx_queue_handle))
    {
      xQueueReceive(usart3_rx_queue_handle, &ch, 0);

      if (ch == 0)
      {
        len = cobs_decode(usart3_pkt_buffer, usart3_pkt_buffer_ptr, pkt_buffer);

        // swo_printf("Got packet [UART3]\n");

        // for (int i = 0; i < usart3_pkt_buffer_ptr; i++)
        // {
        //   swo_printf("%02x ", usart3_pkt_buffer[i]);
        // }
        // swo_printf("\n");

        if (parse_message(&msg, pkt_buffer, len) == 0)
        {
          msg.rx_int  = MSG_RX_UART3;
          msg.tx_mask = MSG_TX_NONE;
          xQueueSend(rx_msg_queue_handle, &msg, 0);
        }
        else
        {
          swo_printf("Parse failed [UART3]\n");
        }
        usart3_pkt_buffer_ptr = 0;
      }
      else
      {
        if (usart3_pkt_buffer_ptr == sizeof(usart3_pkt_buffer))
          usart3_pkt_buffer_ptr = 0;
        usart3_pkt_buffer[usart3_pkt_buffer_ptr++] = ch;
      }
    }

    // USART 4 (GSE umbilical)
    while (uxQueueMessagesWaiting(usart4_rx_queue_handle))
    {
      xQueueReceive(usart4_rx_queue_handle, &ch, 0);

      if (ch == 0)
      {
        len = cobs_decode(usart4_pkt_buffer, usart4_pkt_buffer_ptr, pkt_buffer);

        // swo_printf("Got packet [UART4]\n");

        // for (int i = 0; i < usart4_pkt_buffer_ptr; i++)
        // {
        //   swo_printf("%02x ", usart4_pkt_buffer[i]);
        // }
        // swo_printf("\n");

        if (parse_message(&msg, pkt_buffer, len) == 0)
        {
          msg.rx_int  = MSG_RX_UART4;
          msg.tx_mask = MSG_TX_NONE;
          xQueueSend(rx_msg_queue_handle, &msg, 0);
        }
        else
        {
          swo_printf("Parse failed [UART4]\n");
        }
        usart4_pkt_buffer_ptr = 0;
      }
      else
      {
        if (usart4_pkt_buffer_ptr == sizeof(usart4_pkt_buffer))
          usart4_pkt_buffer_ptr = 0;
        usart4_pkt_buffer[usart4_pkt_buffer_ptr++] = ch;
      }
    }

    // USB CDC
    while (uxQueueMessagesWaiting(usb_cdc_rx_queue_handle))
    {
      xQueueReceive(usb_cdc_rx_queue_handle, &ch, 0);

      if (ch == 0)
      {
        len = cobs_decode(usb_cdc_pkt_buffer, usb_cdc_pkt_buffer_ptr, pkt_buffer);

        // swo_printf("Got packet [USB CDC]\n");

        // for (int i = 0; i < usb_cdc_pkt_buffer_ptr; i++)
        // {
        //   swo_printf("%02x ", usb_cdc_pkt_buffer[i]);
        // }
        // swo_printf("\n");

        if (parse_message(&msg, pkt_buffer, len) == 0)
        {
          msg.rx_int  = MSG_RX_USB;
          msg.tx_mask = MSG_TX_NONE;
          xQueueSend(rx_msg_queue_handle, &msg, 0);
        }
        else
        {
          swo_printf("Parse failed [USB CDC]\n");
        }
        usb_cdc_pkt_buffer_ptr = 0;
      }
      else
      {
        if (usb_cdc_pkt_buffer_ptr == sizeof(usb_cdc_pkt_buffer))
          usb_cdc_pkt_buffer_ptr = 0;
        usb_cdc_pkt_buffer[usb_cdc_pkt_buffer_ptr++] = ch;
      }
    }

    // Process received messages
    while (uxQueueMessagesWaiting(rx_msg_queue_handle))
    {
      xQueueReceive(rx_msg_queue_handle, &msg, 0);

      if (is_duplicate_message(&msg))
        continue;

      register_message(&msg);

      if (msg.dest == MSG_DEST_BCAST || msg.dest != dev_id)
      {
        // forward packet
        msg.tx_mask = MSG_INV_TX_MASK(msg.rx_int);

        xQueueSend(tx_msg_queue_handle, &msg, 0);
      }

      if ((msg.dest == MSG_DEST_BCAST || msg.dest == dev_id) && (msg.rx_int != MSG_RX_UART4))
      {
        // address check passed

        if (msg.ptype == MSG_TYPE_PING_REQ)
        {
          // echo request
          msg.dest = msg.src;
          msg.src = dev_id;
          msg.ptype = MSG_TYPE_PING_RESP;
          msg.tx_mask = MSG_TX_MASK(msg.rx_int); // loop it back

          xQueueSend(tx_msg_queue_handle, &msg, 0);
        }
        else if (msg.ptype == MSG_TYPE_COMMAND)
        {
          uint32_t cmd = 0;

          cmd = msg.data[0];
          cmd |= msg.data[1] << 8;
          cmd |= msg.data[2] << 16;
          cmd |= msg.data[3] << 24;

          // swo_printf("Cmd packet: 0x%08x\n", cmd);

          switch (cmd)
          {
            case 0x004001F0:
              // fire e-match command
              fire_cmd = 1;
              break;
            case 0x004001FF:
              // set arm state command
              arm_state = msg.data[4];
              break;
          }
        }
        else if (msg.ptype == MSG_TYPE_DIO_SET_BIT)
        {
          uint8_t bank = msg.data[0];
          uint16_t mask = 1 << msg.data[1];

          switch (bank)
          {
            case 0:
              if (msg.data[2])
                solenoid_state |= mask;
              else
                solenoid_state &= ~mask;
              break;
          }
        }
      }
    }

    // Transmit messages
    while (uxQueueMessagesWaiting(tx_msg_queue_handle))
    {
      xQueueReceive(tx_msg_queue_handle, &msg, 0);

      if (msg.rx_int == MSG_RX_NONE)
      {
        // locally generated traffic
        msg.seq = tx_seq;
        tx_seq = tx_seq + 1;

        register_message(&msg);
      }

      pack_message(&msg, pkt_buffer, sizeof(pkt_buffer));

      len = cobs_encode(pkt_buffer, msg.len+MSG_OVERHEAD, pkt_buffer_2);
      pkt_buffer_2[len++] = 0;

      // UART 3 (GSE control)
      if (msg.tx_mask & MSG_TX_UART3)
      {
        for (int i = 0; i < len; i++)
        {
          ch = pkt_buffer_2[i];
          xQueueSend(usart3_tx_queue_handle, &ch, 10);
          if (!usart3_active)
          {
            usart3_active = 1;
            xQueueReceive(usart3_tx_queue_handle, usart3_tx_hw_buffer, 0);
            HAL_UART_Transmit_IT(&huart3, usart3_tx_hw_buffer, 1);
          }
        }
      }

      // UART 4 (GSE umbilical)
      if (msg.tx_mask & MSG_TX_UART4)
      {
        for (int i = 0; i < len; i++)
        {
          ch = pkt_buffer_2[i];
          xQueueSend(usart4_tx_queue_handle, &ch, 10);
          if (!usart4_active)
          {
            usart4_active = 1;
            xQueueReceive(usart4_tx_queue_handle, usart4_tx_hw_buffer, 0);
            HAL_UART_Transmit_IT(&huart4, usart4_tx_hw_buffer, 1);
          }
        }
      }

      // USB CDC
      if (msg.tx_mask & MSG_TX_USB)
      {
        //usb_cdc_tx(pkt_buffer_2, len);
        if (usb_cdc_tx_buffer_ptr + len < sizeof(usb_cdc_tx_buffer))
        {
          memcpy(usb_cdc_tx_buffer+usb_cdc_tx_buffer_ptr, pkt_buffer_2, len);
          usb_cdc_tx_buffer_ptr += len;
        }
      }
    }

    // USB CDC
    if (usb_cdc_tx_buffer_ptr)
    {
      if (usb_cdc_tx(usb_cdc_tx_buffer, usb_cdc_tx_buffer_ptr) == 0)
      {
        usb_cdc_tx_buffer_ptr = 0;
      }
    }

    osDelay(1);
  }
  /* USER CODE END startMessageHandler */
}

void startSgRead(void const * argument)
{
  /* USER CODE BEGIN startSgRead */
  int32_t sg[3];

  while (1)
  {
    // read strain gauges
    sg[0] = 0;
    sg[1] = 0;
    sg[2] = 0;

    for (int i = 0; i < 24; i++)
    {
      // clock pulse
      HAL_GPIO_WritePin(SG1_CLK_GPIO_Port, SG1_CLK_Pin, GPIO_PIN_SET);
      HAL_GPIO_WritePin(SG2_CLK_GPIO_Port, SG2_CLK_Pin, GPIO_PIN_SET);
      HAL_GPIO_WritePin(SG3_CLK_GPIO_Port, SG3_CLK_Pin, GPIO_PIN_SET);

      //osDelay(1);
      for (int j = 0; j < 56; j++) __NOP();

      HAL_GPIO_WritePin(SG1_CLK_GPIO_Port, SG1_CLK_Pin, GPIO_PIN_RESET);
      HAL_GPIO_WritePin(SG2_CLK_GPIO_Port, SG2_CLK_Pin, GPIO_PIN_RESET);
      HAL_GPIO_WritePin(SG3_CLK_GPIO_Port, SG3_CLK_Pin, GPIO_PIN_RESET);

      sg[0] = (sg[0] << 1) | HAL_GPIO_ReadPin(SG1_DAT_GPIO_Port, SG1_DAT_Pin);
      sg[1] = (sg[1] << 1) | HAL_GPIO_ReadPin(SG2_DAT_GPIO_Port, SG2_DAT_Pin);
      sg[2] = (sg[2] << 1) | HAL_GPIO_ReadPin(SG3_DAT_GPIO_Port, SG3_DAT_Pin);

      //osDelay(1);
      for (int j = 0; j < 56; j++) __NOP();
    }

    // clock pulse
    HAL_GPIO_WritePin(SG1_CLK_GPIO_Port, SG1_CLK_Pin, GPIO_PIN_SET);
    HAL_GPIO_WritePin(SG2_CLK_GPIO_Port, SG2_CLK_Pin, GPIO_PIN_SET);
    HAL_GPIO_WritePin(SG3_CLK_GPIO_Port, SG3_CLK_Pin, GPIO_PIN_SET);

    //osDelay(1);
    for (int j = 0; j < 56; j++) __NOP();

    HAL_GPIO_WritePin(SG1_CLK_GPIO_Port, SG1_CLK_Pin, GPIO_PIN_RESET);
    HAL_GPIO_WritePin(SG2_CLK_GPIO_Port, SG2_CLK_Pin, GPIO_PIN_RESET);
    HAL_GPIO_WritePin(SG3_CLK_GPIO_Port, SG3_CLK_Pin, GPIO_PIN_RESET);

    // sign extend
    if (sg[0] & (1 << 23)) sg[0] |= 0xff000000;
    if (sg[1] & (1 << 23)) sg[1] |= 0xff000000;
    if (sg[2] & (1 << 23)) sg[2] |= 0xff000000;

    swo_printf("SG: %ld, %ld, %ld\n", sg[0], sg[1], sg[2]);

    osDelay(1000);
  }
  /* USER CODE END startSgRead */
}

void Error_Handler(void)
{
  __disable_irq();
  while (1)
  {
  }
}

/************************ (C) COPYRIGHT STMicroelectronics *****END OF FILE****/
